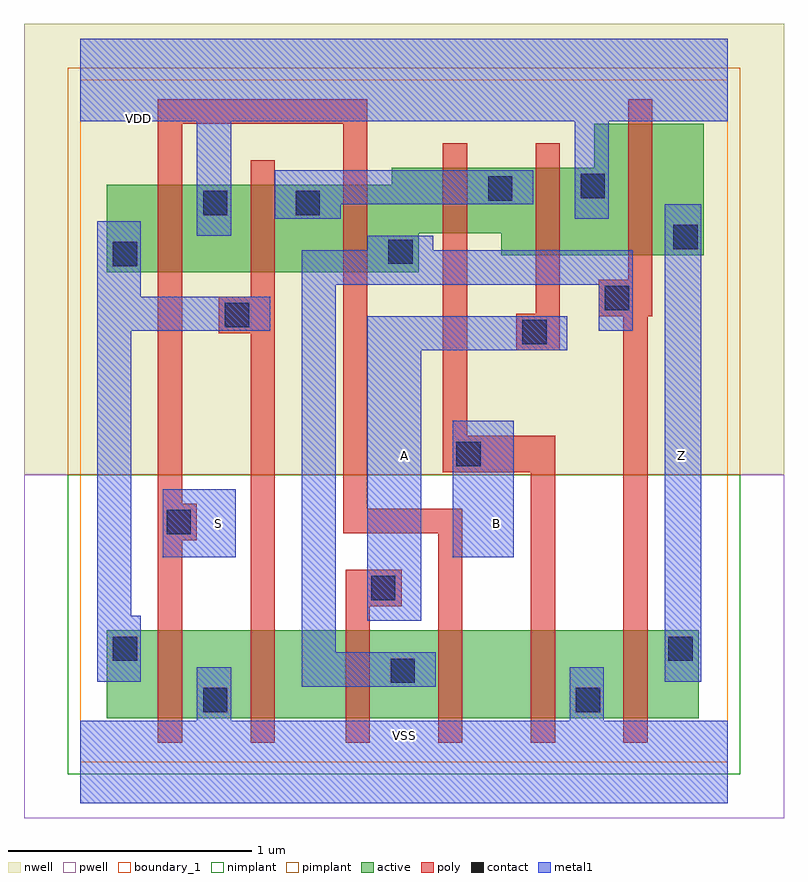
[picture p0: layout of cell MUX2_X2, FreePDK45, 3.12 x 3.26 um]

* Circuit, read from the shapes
.subckt MUX2_X2 A B S VDD VSS Z
M1 VSS S n1 VSUBS nfet w=0.36u l=0.1u
M2 n2 n1 VSS VSUBS nfet w=0.36u l=0.1u
M3 n3 A n2 VSUBS nfet w=0.36u l=0.1u
M4 n4 S n3 VSUBS nfet w=0.36u l=0.1u
M5 VSS B n4 VSUBS nfet w=0.36u l=0.1u
M6 Z n3 VSS VSUBS nfet w=0.36u l=0.1u
M7 VDD S n1 n5 pfet w=0.36u l=0.1u
M8 n6 n1 VDD n5 pfet w=0.36u l=0.1u
M9 n3 S n6 n5 pfet w=0.36u l=0.1u
M10 n6 B n3 n5 pfet w=0.27u l=0.1u
M11 VDD A n6 n5 pfet w=0.36u l=0.1u
M12 Z n3 VDD n5 pfet w=0.54u l=0.1u
.ends

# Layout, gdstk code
import gdstk
lib = gdstk.Library(unit=1e-6, precision=1e-09)
def R(c, l, rs):  # rectangles x0, y0, x1, y1
    for r in rs: c.add(gdstk.rectangle(r[:2], r[2:], *l))
def P(c, l, *ps):  # polygons
    for p in ps: c.add(gdstk.Polygon(p, *l))
active = (1, 0)
pwell = (2, 0)
nwell = (3, 0)
nimplant = (4, 0)
pimplant = (5, 0)
poly = (9, 0)
contact = (10, 0)
metal1 = (11, 0)
boundary_1 = (235, 1)

mux2_x2 = lib.new_cell('MUX2_X2')
R(mux2_x2, active, [(0.11,0.18,2.54,0.54)])
P(mux2_x2, active, [(0.11,2.01),(1.39,2.01),(1.39,2.17),(1.73,2.17),(1.73,2.08),(2.56,2.08),(2.56,2.62),(2.11,2.62),(2.11,2.44),(1.28,2.44),(1.28,2.37),(0.11,2.37)])
R(mux2_x2, pwell, [(-0.23,-0.23,2.89,1.18)])
R(mux2_x2, nwell, [(-0.23,1.18,2.89,3.03)])
R(mux2_x2, nimplant, [(-0.05,-0.05,2.71,1.18)])
R(mux2_x2, pimplant, [(-0.05,1.18,2.71,2.85)])
P(mux2_x2, poly, [(2.13,1.83),(2.23,1.83),(2.23,0.08),(2.33,0.08),(2.33,1.83),(2.35,1.83),(2.35,2.72),(2.25,2.72),(2.25,1.98),(2.13,1.98)],
  [(1.79,1.69),(1.97,1.69),(1.97,2.54),(1.87,2.54),(1.87,1.84),(1.79,1.84)],
  [(1.49,1.19),(1.85,1.19),(1.85,0.08),(1.95,0.08),(1.95,1.34),(1.59,1.34),(1.59,2.54),(1.49,2.54)],
  [(0.42,2.62),(1.08,2.62),(1.08,0.94),(1.47,0.94),(1.47,0.08),(1.57,0.08),(1.57,1.04),(1.18,1.04),(1.18,2.72),(0.32,2.72),(0.32,0.08),(0.42,0.08),(0.42,0.91),(0.48,0.91),(0.48,1.06),(0.42,1.06)],
  [(1.09,0.08),(1.19,0.08),(1.19,0.64),(1.32,0.64),(1.32,0.79),(1.09,0.79)],
  [(0.57,1.76),(0.7,1.76),(0.7,0.08),(0.8,0.08),(0.8,2.47),(0.7,2.47),(0.7,1.91),(0.57,1.91)])
R(mux2_x2, contact, [(0.505,0.205,0.605,0.305), (2.035,0.205,2.135,0.305), (1.275,0.325,1.375,0.425), (0.135,0.415,0.235,0.515), (2.415,0.415,2.515,0.515), (1.195,0.665,1.295,0.765), (0.355,0.935,0.455,1.035), (1.545,1.215,1.645,1.315), (1.815,1.715,1.915,1.815), (0.595,1.785,0.695,1.885), (2.155,1.855,2.255,1.955), (0.135,2.035,0.235,2.135), (1.265,2.045,1.365,2.145), (2.435,2.105,2.535,2.205), (0.505,2.245,0.605,2.345), (0.885,2.245,0.985,2.345), (1.675,2.305,1.775,2.405), (2.055,2.315,2.155,2.415)])
R(mux2_x2, metal1, [(2.4,0.33,2.55,2.29), (2.4,0.33,2.55,2.29), (0.34,0.84,0.64,1.12), (0.34,0.84,0.64,1.12), (1.53,0.84,1.78,1.4), (1.53,0.84,1.78,1.4)])
P(mux2_x2, metal1, [(0,-0.17),(2.66,-0.17),(2.66,0.17),(2.15,0.17),(2.15,0.39),(2.01,0.39),(2.01,0.17),(0.62,0.17),(0.62,0.39),(0.48,0.39),(0.48,0.17),(0,0.17)],
  [(0,2.63),(0.48,2.63),(0.48,2.16),(0.62,2.16),(0.62,2.63),(2.03,2.63),(2.03,2.23),(2.17,2.23),(2.17,2.63),(2.66,2.63),(2.66,2.97),(0,2.97)],
  [(1.18,0.58),(1.4,0.58),(1.4,1.69),(2,1.69),(2,1.83),(1.18,1.83)],
  [(0,2.63),(0.48,2.63),(0.48,2.16),(0.62,2.16),(0.62,2.63),(2.03,2.63),(2.03,2.23),(2.17,2.23),(2.17,2.63),(2.66,2.63),(2.66,2.97),(0,2.97)],
  [(0,-0.17),(2.66,-0.17),(2.66,0.17),(2.15,0.17),(2.15,0.39),(2.01,0.39),(2.01,0.17),(0.62,0.17),(0.62,0.39),(0.48,0.39),(0.48,0.17),(0,0.17)],
  [(1.05,1.96),(2.13,1.96),(2.13,1.77),(2.27,1.77),(2.27,2.1),(1.45,2.1),(1.45,2.16),(1.18,2.16),(1.18,2.1),(0.91,2.1),(0.91,0.31),(1.46,0.31),(1.46,0.45),(1.05,0.45)],
  [(1.18,0.58),(1.4,0.58),(1.4,1.69),(2,1.69),(2,1.83),(1.18,1.83)],
  [(0.8,2.23),(1.07,2.23),(1.07,2.29),(1.86,2.29),(1.86,2.43),(0.8,2.43)],
  [(0.21,1.77),(0.78,1.77),(0.78,1.91),(0.25,1.91),(0.25,2.22),(0.07,2.22),(0.07,0.33),(0.25,0.33),(0.25,0.6),(0.21,0.6)])
R(mux2_x2, boundary_1, [(0,0,2.66,2.8)])
mux2_x2.add(gdstk.Label('Z', (2.47,1.26), layer=11, texttype=0))
mux2_x2.add(gdstk.Label('VSS', (1.33,0.11), layer=11, texttype=0))
mux2_x2.add(gdstk.Label('VDD', (0.24,2.64), layer=11, texttype=0))
mux2_x2.add(gdstk.Label('S', (0.57,0.98), layer=11, texttype=0))
mux2_x2.add(gdstk.Label('B', (1.71,0.98), layer=11, texttype=0))
mux2_x2.add(gdstk.Label('A', (1.33,1.26), layer=11, texttype=0))

lib.write_gds('MUX2_X2.gds')
